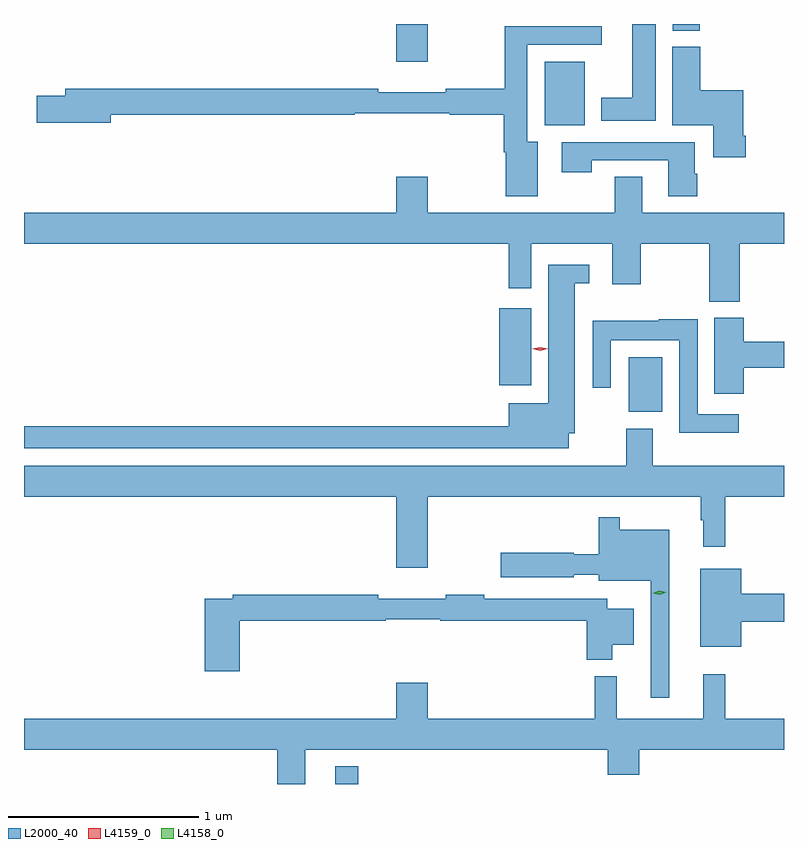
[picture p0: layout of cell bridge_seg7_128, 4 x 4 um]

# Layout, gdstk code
import gdstk
lib = gdstk.Library(unit=1e-6, precision=1e-09)
def R(c, l, rs):  # rectangles x0, y0, x1, y1
    for r in rs: c.add(gdstk.rectangle(r[:2], r[2:], *l))
def P(c, l, *ps):  # polygons
    for p in ps: c.add(gdstk.Polygon(p, *l))
L2000_40 = (2000, 40)
L4158_0 = (4158, 0)
L4159_0 = (4159, 0)

bridge_seg7_128 = lib.new_cell('bridge_seg7_128')
R(bridge_seg7_128, L2000_40, [(871.979,1053.717,872.099,1053.811), (873.524,1055.675,873.7,1055.962), (872.84,1055.817,873.01,1056.22), (873.08,1057.184,873.292,1057.519), (872.3,1057.518,872.464,1057.717), (873.755,1057.681,873.896,1057.717)])
P(bridge_seg7_128, L2000_40, [(873.664,1057.717),(873.542,1057.717),(873.542,1057.33),(873.377,1057.33),(873.377,1057.208),(873.664,1057.208)],
  [(873.043,1057.096),(872.989,1057.096),(872.989,1057.608),(873.382,1057.608),(873.382,1057.706),(872.869,1057.706),(872.869,1057.376),(872.56,1057.376),(872.56,1057.357),(872.204,1057.357),(872.204,1057.376),(870.557,1057.376),(870.557,1057.34),(870.408,1057.34),(870.408,1057.198),(870.796,1057.198),(870.796,1057.24),(872.08,1057.24),(872.08,1057.248),(872.58,1057.248),(872.58,1057.24),(872.864,1057.24),(872.864,1057.043),(872.876,1057.043),(872.876,1056.81),(873.043,1056.81)],
  [(874.139,1057.129),(874.126,1057.129),(874.126,1057.369),(873.899,1057.369),(873.899,1057.596),(873.752,1057.596),(873.752,1057.184),(873.968,1057.184),(873.968,1057.017),(874.139,1057.017)],
  [(873.884,1056.929),(873.871,1056.929),(873.871,1057.095),(873.171,1057.095),(873.171,1056.936),(873.327,1056.936),(873.327,1056.999),(873.731,1056.999),(873.731,1056.81),(873.884,1056.81)],
  [(874.106,1056.56),(874.34,1056.56),(874.34,1056.724),(873.595,1056.724),(873.595,1056.914),(873.448,1056.914),(873.448,1056.724),(872.464,1056.724),(872.464,1056.913),(872.3,1056.913),(872.3,1056.724),(870.34,1056.724),(870.34,1056.56),(872.892,1056.56),(872.892,1056.327),(873.01,1056.327),(873.01,1056.56),(873.437,1056.56),(873.437,1056.348),(873.585,1056.348),(873.585,1056.56),(873.946,1056.56),(873.946,1056.256),(874.106,1056.256)],
  [(873.208,1055.564),(873.238,1055.564),(873.238,1056.353),(873.316,1056.353),(873.316,1056.45),(873.098,1056.45),(873.098,1055.722),(872.891,1055.722),(872.891,1055.6),(870.34,1055.6),(870.34,1055.484),(872.995,1055.484),(872.995,1055.483),(873.208,1055.483)],
  [(874.127,1055.908),(874.34,1055.908),(874.34,1056.044),(874.127,1056.044),(874.127,1056.171),(873.974,1056.171),(873.974,1055.772),(874.127,1055.772)],
  [(874.102,1055.664),(873.885,1055.664),(873.885,1056.164),(873.682,1056.164),(873.682,1056.154),(873.333,1056.154),(873.333,1055.802),(873.429,1055.802),(873.429,1056.053),(873.789,1056.053),(873.789,1055.567),(874.102,1055.567)],
  [(872.464,1055.228),(873.903,1055.228),(873.903,1055.105),(873.914,1055.105),(873.914,1054.965),(874.031,1054.965),(874.031,1055.228),(874.34,1055.228),(874.34,1055.392),(873.649,1055.392),(873.649,1055.587),(873.509,1055.587),(873.509,1055.392),(870.34,1055.392),(870.34,1055.228),(872.3,1055.228),(872.3,1054.854),(872.464,1054.854)],
  [(873.736,1055.056),(873.475,1055.056),(873.475,1055.122),(873.365,1055.122),(873.365,1054.927),(873.234,1054.927),(873.234,1054.935),(872.85,1054.935),(872.85,1054.805),(873.234,1054.805),(873.234,1054.818),(873.365,1054.818),(873.365,1054.787),(873.639,1054.787),(873.639,1054.17),(873.736,1054.17)],
  [(874.114,1054.571),(874.34,1054.571),(874.34,1054.718),(874.114,1054.718),(874.114,1054.849),(873.899,1054.849),(873.899,1054.439),(874.114,1054.439)],
  [(871.475,1054.576),(872.245,1054.576),(872.245,1054.584),(872.531,1054.584),(872.531,1054.576),(873.302,1054.576),(873.302,1054.37),(873.436,1054.37),(873.436,1054.451),(873.55,1054.451),(873.55,1054.639),(873.411,1054.639),(873.411,1054.692),(872.762,1054.692),(872.762,1054.712),(872.56,1054.712),(872.56,1054.693),(872.204,1054.693),(872.204,1054.712),(871.438,1054.712),(871.438,1054.692),(871.292,1054.692),(871.292,1054.311),(871.475,1054.311)],
  [(873.413,1053.765),(873.578,1053.765),(873.578,1053.896),(874.34,1053.896),(874.34,1054.06),(874.031,1054.06),(874.031,1054.294),(873.914,1054.294),(873.914,1054.06),(873.461,1054.06),(873.461,1054.285),(873.343,1054.285),(873.343,1054.06),(872.464,1054.06),(872.464,1054.249),(872.3,1054.249),(872.3,1054.06),(870.34,1054.06),(870.34,1053.896),(871.672,1053.896),(871.672,1053.717),(871.819,1053.717),(871.819,1053.896),(873.413,1053.896)])
P(bridge_seg7_128, L4158_0, [(873.686,1054.713),(873.65,1054.721),(873.649,1054.721),(873.65,1054.721),(873.684,1054.733),(873.72,1054.726),(873.72,1054.725),(873.72,1054.725)])
P(bridge_seg7_128, L4159_0, [(873.056,1055.997),(873.015,1056.007),(873.015,1056.007),(873.015,1056.008),(873.056,1056.017),(873.096,1056.008),(873.096,1056.007),(873.096,1056.007)])

lib.write_gds('bridge_seg7_128.gds')
